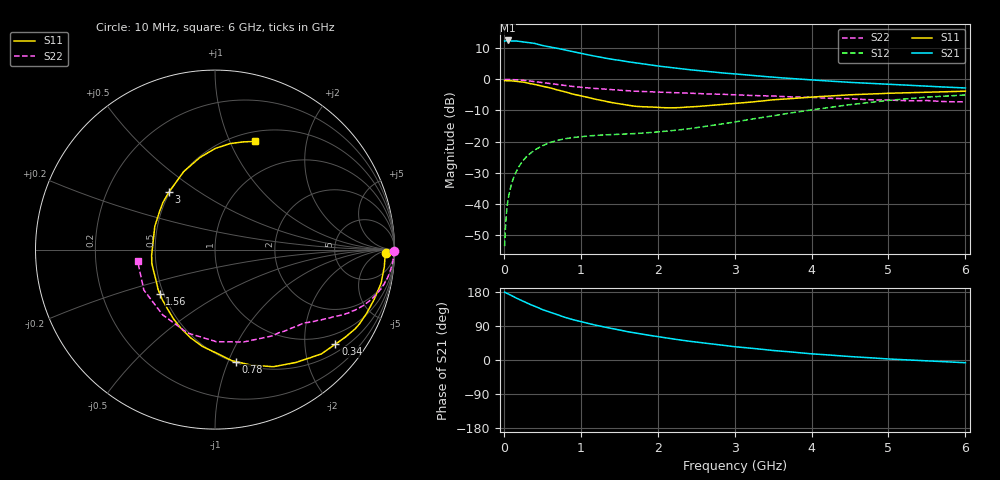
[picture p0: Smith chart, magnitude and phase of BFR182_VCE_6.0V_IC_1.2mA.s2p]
! Infineon Technologies  Discrete & RF Semiconductors
! BFR182
! VCE =  6.0 V,  IC =  1.2 mA
! Common Emitter S-Parameters:  Nov 2015
# GHz  S  MA  R  50
!  f  S11  S21  S12  S22
! GHz  MAG  ANG  MAG  ANG  MAG  ANG  MAG  ANG
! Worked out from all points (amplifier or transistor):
!   210 points, 10 MHz to 6 GHz, reference 50 ohm
!   highest |S21| = 12.5 dB at 50 MHz (marker M1)
!   |S21| within 3 dB of that: start of sweep to 786.2 MHz
!   unconditionally stable (mu >= 1): 1.699 GHz to 3.242 GHz
!   at 185 MHz: K = 0.13, MSG = 20.4 dB, |S12| = -28.5 dB
!   at 1.52 GHz: K = 0.91, MSG = 11.8 dB, |S12| = -17.6 dB
!   at 6 GHz: K = 0.92, MSG = 1.1 dB, |S12| = -5.0 dB
!   S11 on the Smith chart (normalised r, x): 10 MHz: 34, -14; 340 MHz: 0.71, -2.73; 780 MHz: 0.51, -1.07; 1.56 GHz: 0.48, -0.28; 3 GHz: 0.49, +0.38; 6 GHz: 0.61, +1.25
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0.01  0.9506 -1.2  4.099 179.2  0.0021 94.8  0.998 -0.5
0.03  0.9479 -3.4  4.144 177.0  0.0062 88.2  0.9923 -1.4
0.05  0.9482 -5.7  4.194 175.1  0.0107 85.8  0.996 -2.3
0.09  0.9443 -10.3  4.12 171.4  0.0189 83.3  0.9919 -4.2
0.155  0.9275 -17.9  4.119 164.0  0.0318 79.0  0.9824 -7.3
0.3  0.8738 -34.1  3.914 150.1  0.0583 69.9  0.9494 -13.4
0.34  0.8529 -38.1  3.845 146.9  0.0641 67.3  0.9364 -14.9
0.4  0.8299 -44.5  3.764 141.9  0.0731 64.1  0.9182 -17.3
0.5  0.7741 -54.3  3.487 133.2  0.0856 59.1  0.8853 -20.5
0.68  0.6829 -70.8  3.164 120.4  0.1034 51.9  0.829 -24.9
0.78  0.6343 -79.5  2.98 113.7  0.1101 48.8  0.7991 -27.0
0.9  0.5772 -89.1  2.772 106.3  0.1163 46.0  0.7661 -29.1
1.02  0.5359 -99.0  2.573 100.4  0.1205 43.9  0.7405 -31.0
1.2  0.4761 -113.8  2.327 91.6  0.1257 41.8  0.7101 -33.5
1.56  0.3933 -141.4  1.957 76.8  0.132 41.6  0.6623 -37.7
2.02  0.3531 -176.1  1.623 61.1  0.1436 46.1  0.6229 -43.3
2.4  0.3598 158.7  1.429 49.8  0.1603 51.1  0.5994 -49.1
3  0.4106 128.7  1.22 35.1  0.2061 56.1  0.5633 -60.2
3.1  0.419 125.0  1.189 33.3  0.2167 56.1  0.5563 -62.6
4.1  0.5272 97.4  0.958 15.0  0.3358 52.1  0.5039 -92.8
5.1  0.6 80.7  0.821 1.7  0.4693 38.7  0.4588 -132.9
6  0.6438 69.5  0.725 -7.2  0.5606 23.1  0.436 -171.9
